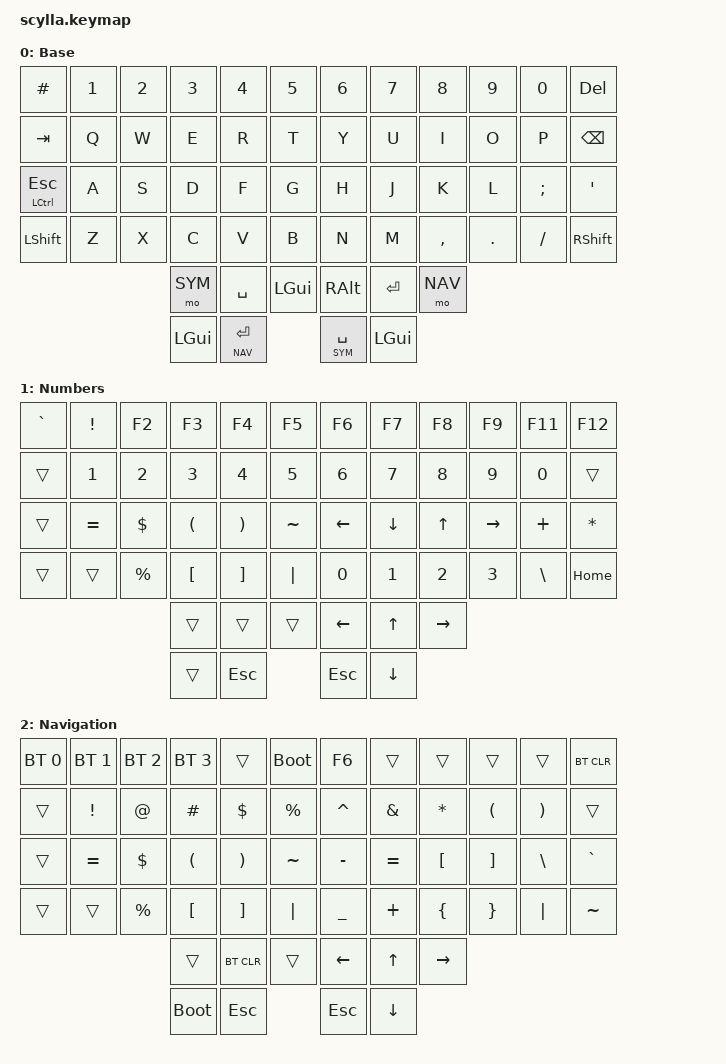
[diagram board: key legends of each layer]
#include <behaviors.dtsi>
#include <dt-bindings/zmk/keys.h>
#include <dt-bindings/zmk/bt.h>



#define DEF 0
#define SYM 1
#define NAV 2

/ {
	keymap {
		compatible = "zmk,keymap";

		DEF {
            display-name = "Base";
			bindings = <
&kp HASH       &kp N1 &kp N2 &kp N3  &kp N4    &kp N5         &kp N6        &kp N7         &kp N8    &kp N9  &kp N0    &kp DEL
&kp TAB        &kp Q  &kp W  &kp E   &kp R     &kp T          &kp Y         &kp U          &kp I     &kp O   &kp P     &kp BKSP
&mt LCTRL ESC  &kp A  &kp S  &kp D   &kp F     &kp G          &kp H         &kp J          &kp K     &kp L   &kp SEMI  &kp SQT
&kp LSHIFT     &kp Z  &kp X  &kp C   &kp V     &kp B          &kp N         &kp M          &kp COMMA &kp DOT &kp SLASH &kp RSHIFT
                            &mo SYM &kp SPACE &kp LGUI        &kp RALT &kp ENTER &mo NAV
                               &kp LGUI  &lt NAV ENTER        &lt SYM SPACE &kp LGUI
			>;
		};
        SYM {
            display-name = "Numbers";
            bindings = <
                &kp GRAVE &kp EXCL  &kp F2    &kp F3   &kp F4   &kp F5       &kp F6   &kp F7    &kp F8    &kp F9 &kp F11   &kp F12
                &trans    &kp N1    &kp N2    &kp N3   &kp N4   &kp N5       &kp N6   &kp N7    &kp N8    &kp N9 &kp N0    &trans
                &trans    &kp EQUAL &kp DLLR  &kp LPAR &kp RPAR &kp TILDE    &kp LEFT &kp DOWN  &kp UP    &kp RIGHT &kp PLUS  &kp STAR
                &trans    &trans    &kp PRCNT &kp LBKT &kp RBKT &kp PIPE     &kp N0   &kp N1    &kp N2    &kp N3 &kp BSLH  &kp HOME
                &trans   &trans   &trans       &kp LEFT &kp UP    &kp RIGHT
                &trans   &kp ESC			 &kp ESC  &kp DOWN
                >;
        };

    NAV {
            display-name = "Navigation";
			bindings = <
&bt BT_SEL 0   &bt BT_SEL 1 &bt BT_SEL 2  &bt BT_SEL 3   &trans    &bootloader      &kp F6      &trans          &trans       &trans     &trans        &bt BT_CLR
&trans       &kp EXCL       &kp AT         &kp HASH     &kp DLLR  &kp PRCNT        &kp CARET   &kp AMPS          &kp STAR    &kp LPAR   &kp RPAR      &trans
&trans       &kp EQUAL      &kp DLLR       &kp LPAR     &kp RPAR  &kp TILDE        &kp MINUS   &kp EQUAL         &kp LBKT    &kp RBKT   &kp BSLH      &kp GRAVE
&trans       &trans        &kp PRCNT      &kp LBKT     &kp RBKT  &kp PIPE          &kp UNDER   &kp PLUS          &kp LBRC    &kp RBRC   &kp PIPE      &kp TILDE

                       &trans   &bt BT_CLR    &trans       &kp LEFT    &kp UP  &kp RIGHT
                                        &bootloader   &kp ESC	   &kp ESC     &kp DOWN
			>;
    };
	};
};
